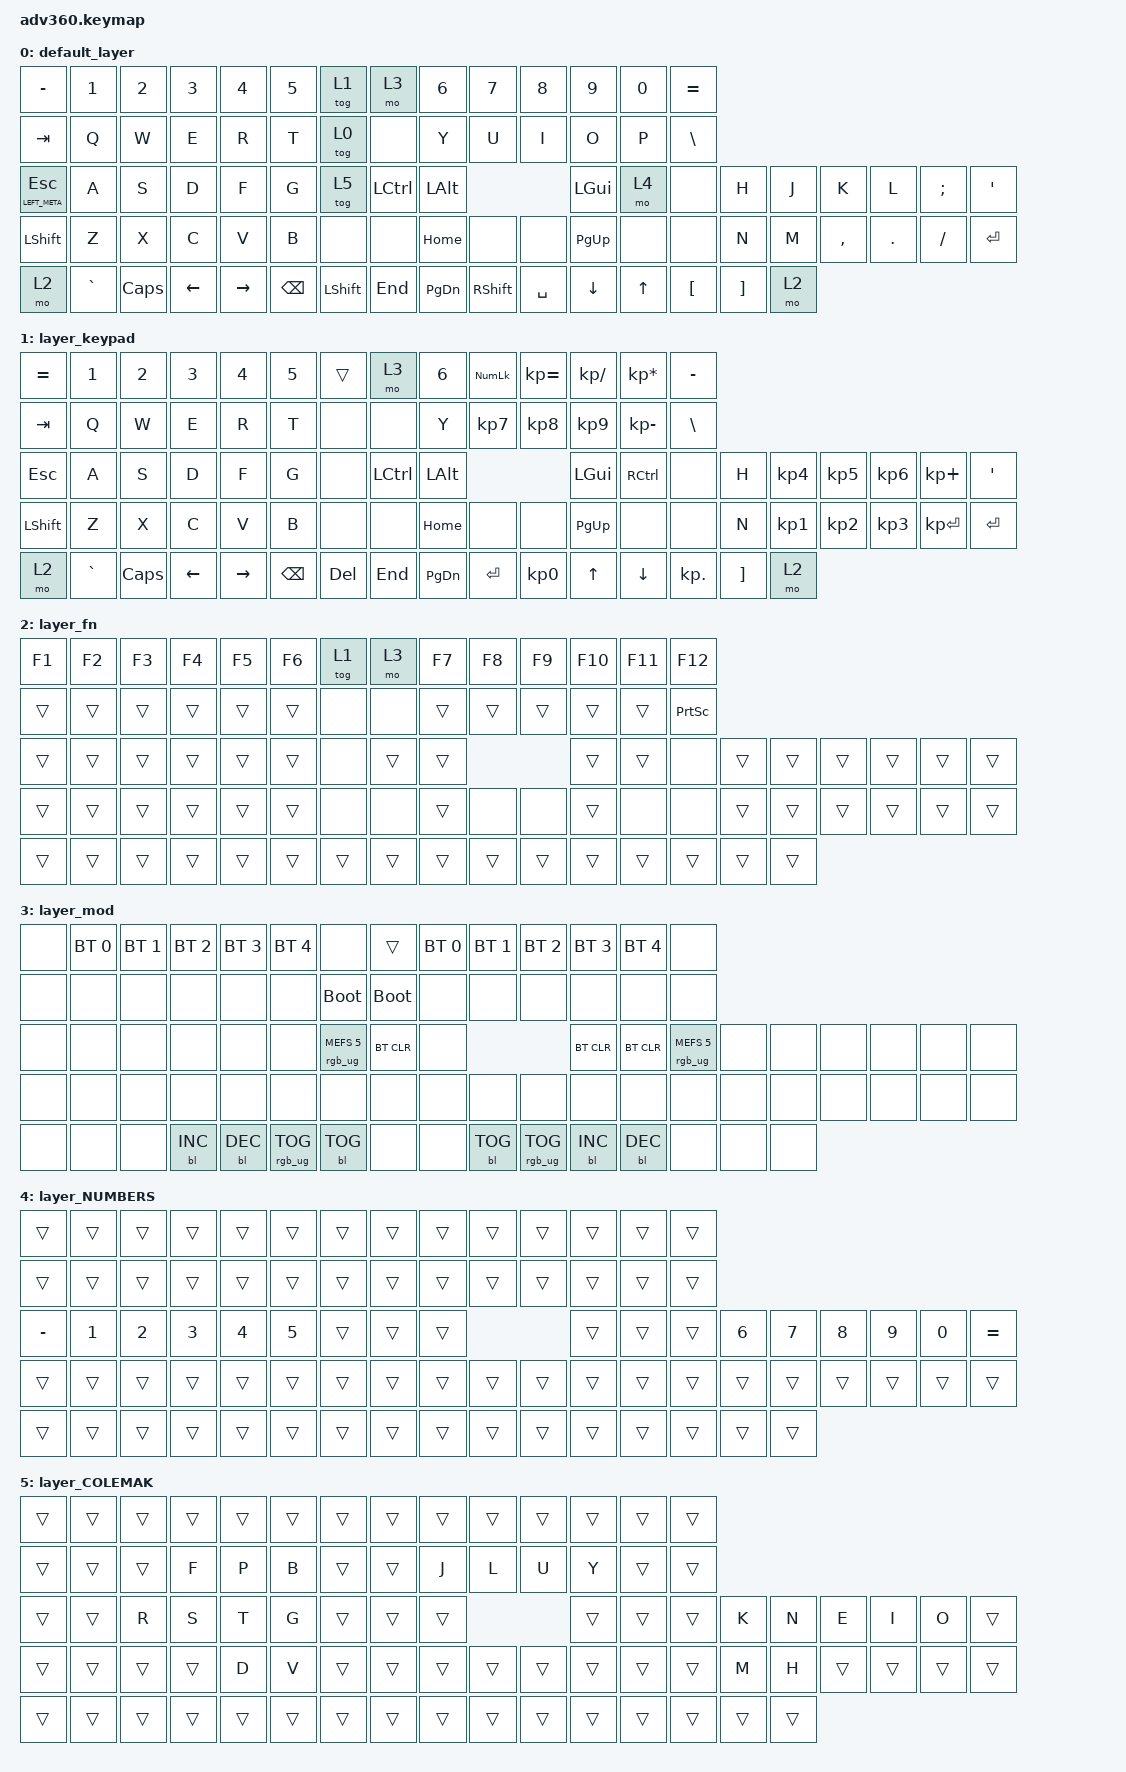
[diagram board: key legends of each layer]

/*
 * Copyright (c) 2020 The ZMK Contributors
 *
 * SPDX-License-Identifier: MIT
 */


/* THIS FILE WAS GENERATED!
 *
 * This file was generated automatically. You may or may not want to
 * edit it directly.
 */

#include <behaviors.dtsi>
#include <dt-bindings/zmk/keys.h>
#include <dt-bindings/zmk/bt.h>
#include <dt-bindings/zmk/rgb.h>
#include <dt-bindings/zmk/backlight.h>

/ {
  behaviors {
    #include "macros.dtsi"

    hm: homerow_mods {
        compatible = "zmk,behavior-hold-tap";
        label = "HOMEROW_MODS";
        #binding-cells = <2>;
        tapping-term-ms = <200>;
        quick_tap_ms = <175>;
        flavor = "tap-preferred";
        bindings = <&kp>, <&kp>;
    };
  };

    keymap {
        compatible = "zmk,keymap";


        default_layer {
            bindings = <
            &kp MINUS     &kp N1    &kp N2    &kp N3     &kp N4    &kp N5                    &tog 1      &mo 3     &kp N6           &kp N7     &kp N8     &kp N9  &kp N0  &kp EQUAL
              &kp TAB      &kp Q     &kp W     &kp E      &kp R     &kp T                    &tog 0      &none      &kp Y            &kp U      &kp I      &kp O   &kp P   &kp BSLH
 &mt LEFT_META ESCAPE      &kp A     &kp S     &kp D      &kp F     &kp G                    &tog 5  &kp LCTRL   &kp LALT                               &kp LGUI   &mo 4      &none     &kp H   &kp J      &kp K    &kp L  &kp SEMI    &kp SQT
            &kp LSHFT      &kp Z     &kp X     &kp C      &kp V     &kp B                     &none      &none   &kp HOME            &none      &none  &kp PG_UP   &none      &none     &kp N   &kp M  &kp COMMA  &kp DOT  &kp FSLH  &kp ENTER
                &mo 2  &kp GRAVE  &kp CAPS  &kp LEFT  &kp RIGHT  &kp BSPC            &kp LEFT_SHIFT    &kp END  &kp PG_DN  &kp RIGHT_SHIFT  &kp SPACE   &kp DOWN  &kp UP   &kp LBKT  &kp RBKT   &mo 2
            >;
        };

        layer_keypad {
            bindings = <
 &kp EQUAL     &kp N1    &kp N2    &kp N3     &kp N4    &kp N5             &trans      &mo 3     &kp N6  &kp KP_NUM  &kp KP_EQUAL  &kp KP_DIVIDE  &kp KP_MULTIPLY   &kp MINUS
   &kp TAB      &kp Q     &kp W     &kp E      &kp R     &kp T              &none      &none      &kp Y   &kp KP_N7     &kp KP_N8      &kp KP_N9     &kp KP_MINUS    &kp BSLH
   &kp ESC      &kp A     &kp S     &kp D      &kp F     &kp G              &none  &kp LCTRL   &kp LALT                                 &kp LGUI        &kp RCTRL       &none     &kp H  &kp KP_N4  &kp KP_N5  &kp KP_N6   &kp KP_PLUS    &kp SQT
 &kp LSHFT      &kp Z     &kp X     &kp C      &kp V     &kp B              &none      &none   &kp HOME       &none         &none      &kp PG_UP            &none       &none     &kp N  &kp KP_N1  &kp KP_N2  &kp KP_N3  &kp KP_ENTER  &kp ENTER
     &mo 2  &kp GRAVE  &kp CAPS  &kp LEFT  &kp RIGHT  &kp BSPC            &kp DEL    &kp END  &kp PG_DN   &kp ENTER     &kp KP_N0         &kp UP         &kp DOWN  &kp KP_DOT  &kp RBKT      &mo 2
            >;
        };

        layer_fn {
            bindings = <
 &kp F1  &kp F2  &kp F3  &kp F4  &kp F5  &kp F6            &tog 1   &mo 3  &kp F7  &kp F8  &kp F9  &kp F10  &kp F11          &kp F12
 &trans  &trans  &trans  &trans  &trans  &trans             &none   &none  &trans  &trans  &trans   &trans   &trans  &kp PRINTSCREEN
 &trans  &trans  &trans  &trans  &trans  &trans             &none  &trans  &trans                   &trans   &trans            &none  &trans  &trans  &trans  &trans  &trans  &trans
 &trans  &trans  &trans  &trans  &trans  &trans             &none   &none  &trans   &none   &none   &trans    &none            &none  &trans  &trans  &trans  &trans  &trans  &trans
 &trans  &trans  &trans  &trans  &trans  &trans            &trans  &trans  &trans  &trans  &trans   &trans   &trans           &trans  &trans  &trans
            >;
        };

        layer_mod {
            bindings = <
  &none  &bt BT_SEL 0  &bt BT_SEL 1  &bt BT_SEL 2  &bt BT_SEL 3     &bt BT_SEL 4                             &none       &trans  &bt BT_SEL 0  &bt BT_SEL 1     &bt BT_SEL 2  &bt BT_SEL 3  &bt BT_SEL 4                   &none
  &none         &none         &none         &none         &none            &none                       &bootloader  &bootloader         &none         &none            &none         &none         &none                   &none
  &none         &none         &none         &none         &none            &none            &rgb_ug RGB_MEFS_CMD 5   &bt BT_CLR         &none                                   &bt BT_CLR    &bt BT_CLR  &rgb_ug RGB_MEFS_CMD 5   &none   &none   &none   &none   &none   &none
  &none         &none         &none         &none         &none            &none                             &none        &none         &none         &none            &none         &none         &none                   &none   &none   &none   &none   &none   &none   &none
  &none         &none         &none    &bl BL_INC    &bl BL_DEC  &rgb_ug RGB_TOG                        &bl BL_TOG        &none         &none    &bl BL_TOG  &rgb_ug RGB_TOG    &bl BL_INC    &bl BL_DEC                   &none   &none   &none
            >;
        };

        layer_NUMBERS {
            bindings = <
    &trans  &trans  &trans  &trans  &trans  &trans            &trans  &trans  &trans  &trans  &trans  &trans  &trans  &trans
    &trans  &trans  &trans  &trans  &trans  &trans            &trans  &trans  &trans  &trans  &trans  &trans  &trans  &trans
 &kp MINUS  &kp N1  &kp N2  &kp N3  &kp N4  &kp N5            &trans  &trans  &trans                  &trans  &trans  &trans  &kp N6  &kp N7  &kp N8  &kp N9  &kp N0  &kp EQUAL
    &trans  &trans  &trans  &trans  &trans  &trans            &trans  &trans  &trans  &trans  &trans  &trans  &trans  &trans  &trans  &trans  &trans  &trans  &trans     &trans
    &trans  &trans  &trans  &trans  &trans  &trans            &trans  &trans  &trans  &trans  &trans  &trans  &trans  &trans  &trans  &trans
            >;
        };

        layer_COLEMAK {
            bindings = <
 &trans  &trans  &trans  &trans  &trans  &trans            &trans  &trans  &trans  &trans  &trans  &trans  &trans  &trans
 &trans  &trans  &trans   &kp F   &kp P   &kp B            &trans  &trans   &kp J   &kp L   &kp U   &kp Y  &trans  &trans
 &trans  &trans   &kp R   &kp S   &kp T   &kp G            &trans  &trans  &trans                  &trans  &trans  &trans   &kp K   &kp N   &kp E   &kp I   &kp O  &trans
 &trans  &trans  &trans  &trans   &kp D   &kp V            &trans  &trans  &trans  &trans  &trans  &trans  &trans  &trans   &kp M   &kp H  &trans  &trans  &trans  &trans
 &trans  &trans  &trans  &trans  &trans  &trans            &trans  &trans  &trans  &trans  &trans  &trans  &trans  &trans  &trans  &trans
            >;
        };

    };
};
